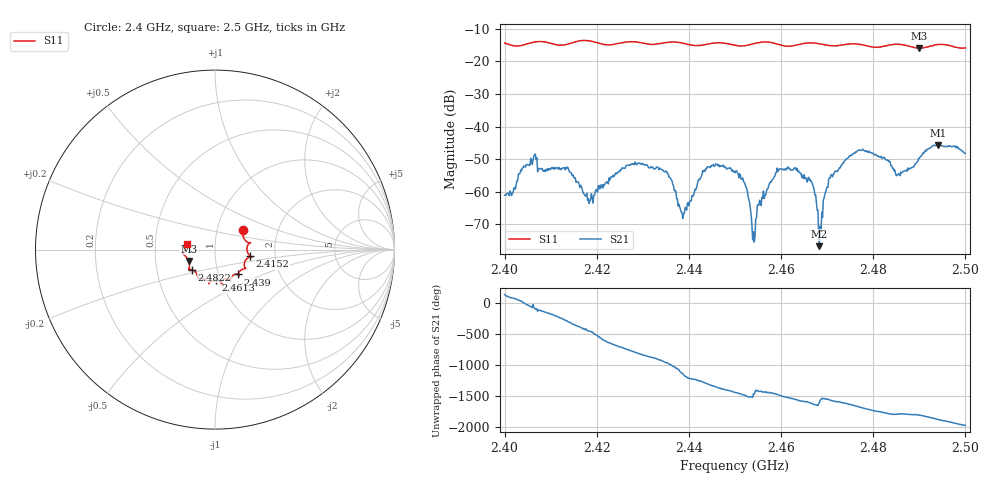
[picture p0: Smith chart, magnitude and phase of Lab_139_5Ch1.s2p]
# Hz S RI R 50
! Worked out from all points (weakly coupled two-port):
!   601 points, 2.4 GHz to 2.5 GHz, reference 50 ohm
!   highest |S21| = -45.65 dB at 2.494 GHz (marker M1); lowest = -76.8 dB at 2.4683 GHz (marker M2)
!   lowest |S11| = -15.9 dB at 2.49 GHz (marker M3), VSWR 1.38, Z = 36.9 - j4.81 ohm
!   |S11| at or under -10 dB: start of sweep to end of sweep
!   S12 and S22 are empty: the file has one direction only
!   S11 on the Smith chart (normalised r, x): 2.4 GHz: 1.33, +0.31; 2.4152 GHz: 1.48, -0.11; 2.439 GHz: 1.24, -0.35; 2.4613 GHz: 0.96, -0.34; 2.4822 GHz: 0.76, -0.17; 2.5 GHz: 0.73, +0.05
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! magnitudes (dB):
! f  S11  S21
! 2.4 GHz  -14.4  -61.1
! 2.4062 GHz  -14.1  -50.2
! 2.4152 GHz  -14.0  -55.8
! 2.4167 GHz  -13.6  -58.4
! 2.4333 GHz  -14.6  -52.6
! 2.439 GHz  -14.5  -66.7
! 2.4438 GHz  -14.7  -53.0
! 2.45 GHz  -15.0  -54.2
! 2.4522 GHz  -15.2  -57.5
! 2.4542 GHz  -14.5  -75.5
! 2.4575 GHz  -14.1  -57.5
! 2.4613 GHz  -15.3  -52.9
! 2.4667 GHz  -14.3  -57.1
! 2.4683 GHz  -14.6  -76.8
! 2.4705 GHz  -15.1  -55.8
! 2.4743 GHz  -14.7  -49.9
! 2.4822 GHz  -15.4  -49.5
! 2.4833 GHz  -15.0  -50.8
! 2.4853 GHz  -14.7  -54.8
! 2.49 GHz  -15.9  -49.8
! 2.494 GHz  -14.8  -45.7
! 2.5 GHz  -15.8  -48.3
